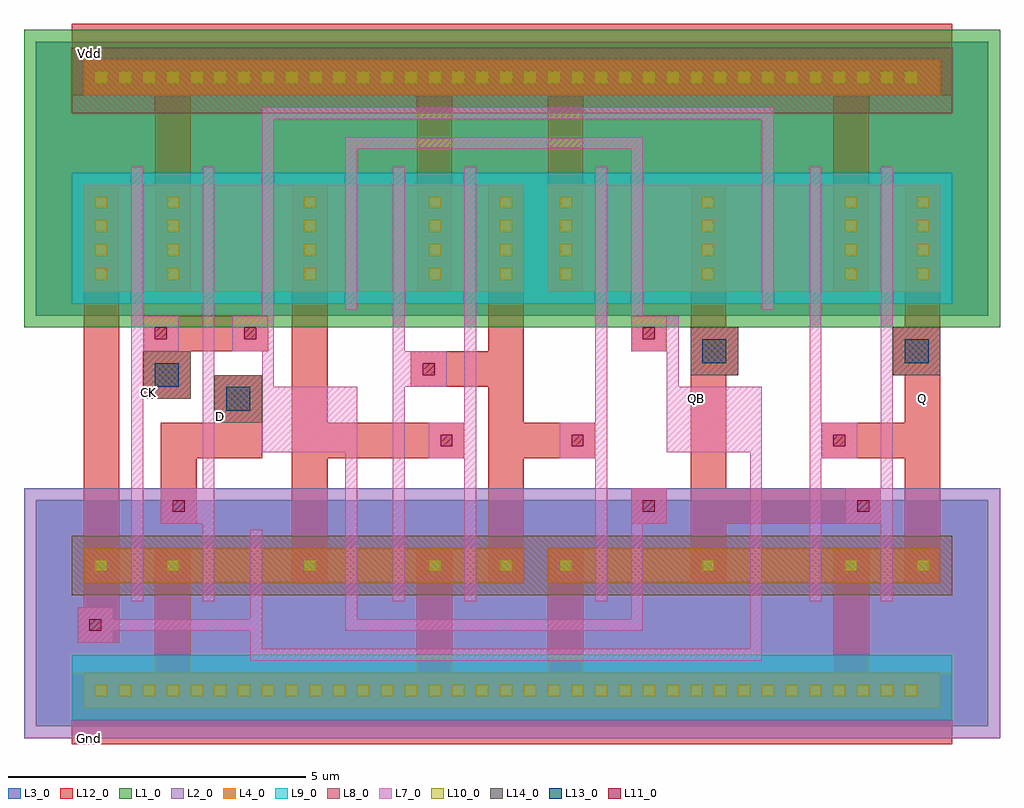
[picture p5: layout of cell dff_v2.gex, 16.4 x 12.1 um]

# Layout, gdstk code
import gdstk
lib = gdstk.Library(unit=1e-6, precision=1e-09)
def R(c, l, rs):  # rectangles x0, y0, x1, y1
    for r in rs: c.add(gdstk.rectangle(r[:2], r[2:], *l))
def A(c, l, x, y, w, h, nx, ny, dx, dy):  # array of equal rectangles
    R(c, l, [(x+i*dx, y+j*dy, x+i*dx+w, y+j*dy+h) for i in range(nx) for j in range(ny)])
L1_0 = (1, 0)
L2_0 = (2, 0)
L3_0 = (3, 0)
L4_0 = (4, 0)
L7_0 = (7, 0)
L8_0 = (8, 0)
L9_0 = (9, 0)
L10_0 = (10, 0)
L11_0 = (11, 0)
L12_0 = (12, 0)
L13_0 = (13, 0)
L14_0 = (14, 0)

dff_v2_gex = lib.new_cell('dff_v2.gex')
R(dff_v2_gex, L1_0, [(-0.8,7,15.6,12)])
R(dff_v2_gex, L2_0, [(-0.8,0.1,15.6,4.3)])
R(dff_v2_gex, L3_0, [(-0.6,0.3,15.4,4.1), (-0.6,7.2,15.4,11.8)])
R(dff_v2_gex, L4_0, [(0.2,0.6,14.6,1.2), (0.2,2.7,7.6,3.3), (8,2.7,14.6,3.3), (0.2,7.6,7.6,9.4), (8,7.6,14.6,9.4), (0.2,10.9,14.6,11.5)])
R(dff_v2_gex, L7_0, [(3,1.4,3.2,1.9), (3.2,1.4,11.4,1.6), (11.4,1.4,11.6,2.5), (0.1,1.7,0.7,2.3), (0.2,1.9,3,2.1), (3,1.9,3.2,3.6), (4.6,1.9,4.8,4.9), (4.8,1.9,9.4,2.1), (9.4,1.9,9.6,2.5), (1,2.4,1.2,9.7), (2.2,2.4,2.4,9.7), (5.4,2.4,5.6,9.7), (6.6,2.4,6.8,9.7), (8.8,2.4,9,9.7), (12.4,2.4,12.6,9.7), (13.6,2.4,13.8,9.7), (9.4,2.5,9.6,3.7), (11.4,2.5,11.6,4.9), (1.5,3.7,2.1,4.3), (2.1,3.7,2.2,4.3), (9.4,3.7,10,4.3), (13,3.7,13.6,4.3), (6,4.8,6.6,5.4), (8.2,4.8,8.8,5.4), (12.6,4.8,13.2,5.4), (3.2,4.9,4.8,6), (10,4.9,11.6,6), (3.2,6,3.4,10.5), (5.5,6,5.7,6.6), (5.7,6,6.3,6.6), (10,6,10.2,7.2), (1.2,6.6,1.8,7.2), (2.7,6.6,3.3,7.2), (9.4,6.6,10,7.2), (9.4,7.2,9.6,9.6), (4.6,7.3,4.8,10.2), (11.6,7.3,11.8,10.7), (9.4,9.6,9.6,10.2), (4.8,10,9.4,10.2), (3.2,10.5,11.6,10.7)])
R(dff_v2_gex, L8_0, [(0,2.5,14.8,3.5), (0,10.6,14.8,11.7)])
R(dff_v2_gex, L9_0, [(0,0.4,14.8,1.5), (0,7.4,14.8,9.6)])
A(dff_v2_gex, L10_0, 0.4, 0.8, 0.2, 0.2, 35, 2, 0.4, 10.3)
A(dff_v2_gex, L10_0, 8.2, 2.9, 0.2, 0.2, 3, 2, 2.4, 4.9)
A(dff_v2_gex, L10_0, 0.4, 7.8, 0.2, 0.2, 1, 4, 0, 0.4)
A(dff_v2_gex, L10_0, 1.6, 7.8, 0.2, 0.2, 1, 4, 0, 0.4)
A(dff_v2_gex, L10_0, 3.9, 7.8, 0.2, 0.2, 1, 4, 0, 0.4)
A(dff_v2_gex, L10_0, 6, 7.8, 0.2, 0.2, 1, 4, 0, 0.4)
A(dff_v2_gex, L10_0, 7.2, 7.8, 0.2, 0.2, 1, 4, 0, 0.4)
A(dff_v2_gex, L10_0, 14.2, 7.8, 0.2, 0.2, 1, 4, 0, 0.4)
A(dff_v2_gex, L10_0, 8.2, 8.2, 0.2, 0.2, 3, 3, 2.4, 0.4)
R(dff_v2_gex, L10_0, [(0.4,2.9,0.6,3.1), (1.6,2.9,1.8,3.1), (3.9,2.9,4.1,3.1), (6,2.9,6.2,3.1), (7.2,2.9,7.4,3.1), (14.2,2.9,14.4,3.1)])
R(dff_v2_gex, L11_0, [(0.3,1.9,0.5,2.1), (1.7,3.9,1.9,4.1), (9.6,3.9,9.8,4.1), (13.2,3.9,13.4,4.1), (6.2,5,6.4,5.2), (8.4,5,8.6,5.2), (12.8,5,13,5.2), (5.9,6.2,6.1,6.4), (1.4,6.8,1.6,7), (2.9,6.8,3.1,7), (9.6,6.8,9.8,7)])
R(dff_v2_gex, L12_0, [(0,0,14.8,1.2), (5.8,0.6,6.4,3.3), (8,0.6,8.6,3.3), (12.8,0.6,13.4,3.3), (1.4,1.2,2,3.3), (0.1,1.7,0.7,2.3), (0.2,1.7,0.8,2.7), (0.2,2.7,0.8,3.3), (3.7,2.7,4.3,9.4), (7,2.7,7.6,9.4), (10.4,2.7,11,9.4), (14,2.7,14.6,9.4), (0.2,3.3,0.8,9.4), (1.5,3.7,2.1,4.3), (9.4,3.7,10,4.3), (11,3.7,13,4.3), (13,3.7,13.6,4.3), (1.5,4.3,2.1,4.8), (1.5,4.8,3.2,5.4), (4.2,4.8,6,5.4), (6,4.8,6.6,5.4), (7.6,4.8,8.2,5.4), (8.2,4.8,8.8,5.4), (12.6,4.8,13.2,5.4), (13.2,4.8,14,5.4), (2.4,5.4,3.2,6.2), (1.2,5.8,2,6.6), (5.7,6,6.3,6.6), (6.3,6,7,6.6), (10.4,6.2,11.2,7), (13.8,6.2,14.6,7), (1.2,6.6,1.8,7.2), (1.8,6.6,2.7,7.2), (2.7,6.6,3.3,7.2), (9.4,6.6,10,7.2), (1.4,7.6,2,8.2), (1.4,7.6,2,11.5), (5.8,7.6,6.4,11.5), (8,7.6,8.6,11.5), (12.8,7.6,13.4,11.5), (0,10.9,14.8,12.1)])
R(dff_v2_gex, L13_0, [(2.6,5.6,3,6), (1.4,6,1.8,6.4), (10.6,6.4,11,6.8), (14,6.4,14.4,6.8)])
R(dff_v2_gex, L14_0, [(2.4,5.4,3.2,6.2), (1.2,5.8,2,6.6), (10.4,6.2,11.2,7), (13.8,6.2,14.6,7)])
dff_v2_gex.add(gdstk.Label('D', (2.5,5.5), layer=12, texttype=0))
dff_v2_gex.add(gdstk.Label('CK', (1.3,5.9), layer=12, texttype=0))
dff_v2_gex.add(gdstk.Label('Q', (14.3,5.8), layer=12, texttype=0))
dff_v2_gex.add(gdstk.Label('QB', (10.5,5.8), layer=12, texttype=0))
dff_v2_gex.add(gdstk.Label('Vdd', (0.3,11.6), layer=12, texttype=0))
dff_v2_gex.add(gdstk.Label('Gnd', (0.3,0.1), layer=12, texttype=0))

lib.write_gds('dff_v2.gex.gds')
